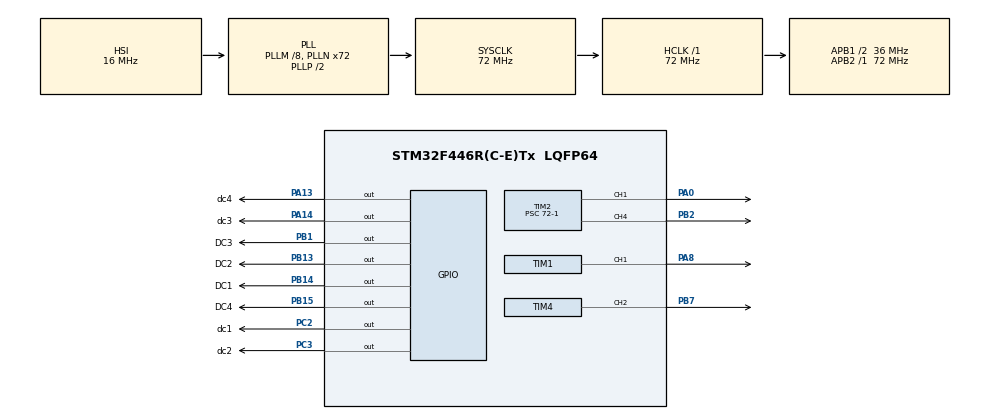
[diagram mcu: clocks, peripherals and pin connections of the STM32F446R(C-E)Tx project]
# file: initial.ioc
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Mcu.Family=STM32F4
Mcu.Name=STM32F446R(C-E)Tx
Mcu.Package=LQFP64
NVIC.PriorityGroup=NVIC_PRIORITYGROUP_4
PA0-WKUP.Signal=S_TIM2_CH1_ETR
PA13.GPIO_Label=dc4
PA13.Signal=GPIO_Output
PA14.GPIO_Label=dc3
PA14.Signal=GPIO_Output
PA8.Signal=S_TIM1_CH1
PB1.GPIO_Label=DC3
PB1.Signal=GPIO_Output
PB13.GPIO_Label=DC2
PB13.Signal=GPIO_Output
PB14.GPIO_Label=DC1
PB14.Signal=GPIO_Output
PB15.GPIO_Label=DC4
PB15.Signal=GPIO_Output
PB2.Signal=S_TIM2_CH4
PB7.Signal=S_TIM4_CH2
PC2.GPIO_Label=dc1
PC2.Signal=GPIO_Output
PC3.GPIO_Label=dc2
PC3.Signal=GPIO_Output
ProjectManager.HeapSize=0x200
ProjectManager.StackSize=0x400
ProjectManager.TargetToolchain=STM32CubeIDE
RCC.AHBFreq_Value=72000000
RCC.APB1CLKDivider=RCC_HCLK_DIV2
RCC.APB1Freq_Value=36000000
RCC.APB1TimFreq_Value=72000000
RCC.APB2Freq_Value=72000000
RCC.APB2TimFreq_Value=72000000
RCC.CortexFreq_Value=72000000
RCC.HCLKFreq_Value=72000000
RCC.PLLM=8
RCC.PLLN=72
RCC.SYSCLKFreq_VALUE=72000000
RCC.SYSCLKSource=RCC_SYSCLKSOURCE_PLLCLK
RCC.USBFreq_Value=72000000
RCC.VCOOutputFreq_Value=144000000
SH.S_TIM1_CH1.0=TIM1_CH1,PWM Generation1 CH1
SH.S_TIM2_CH1_ETR.0=TIM2_CH1,PWM Generation1 CH1
SH.S_TIM2_CH4.0=TIM2_CH4,PWM Generation4 CH4
SH.S_TIM4_CH2.0=TIM4_CH2,PWM Generation2 CH2
TIM1.Channel-PWM\ Generation1\ CH1=TIM_CHANNEL_1
TIM1.Period=100-1
TIM1.Prescaler=72-1
TIM2.Channel-PWM\ Generation1\ CH1=TIM_CHANNEL_1
TIM2.Channel-PWM\ Generation4\ CH4=TIM_CHANNEL_4
TIM2.Period=100-1
TIM2.Prescaler=72-1
TIM4.Channel-PWM\ Generation2\ CH2=TIM_CHANNEL_2
TIM4.Period=100-1
TIM4.Prescaler=72-1
VP_TIM1_VS_ClockSourceINT.Mode=Internal
VP_TIM2_VS_ClockSourceINT.Mode=Internal
VP_TIM4_VS_ClockSourceINT.Mode=Internal
board=custom

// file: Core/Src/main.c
/* USER CODE BEGIN Header */
/**
  ******************************************************************************
  * @file           : main.c
  * @brief          : Main program body
  ******************************************************************************
  * @attention
  *
  * Copyright (c) 2022 STMicroelectronics.
  * All rights reserved.
  *
  * This software is licensed under terms that can be found in the LICENSE file
  * in the root directory of this software component.
  * If no LICENSE file comes with this software, it is provided AS-IS.
  *
  ******************************************************************************
  */
/* USER CODE END Header */
#include "main.h"

 TIM_HandleTypeDef htim1;
TIM_HandleTypeDef htim2;
TIM_HandleTypeDef htim4;

void SystemClock_Config(void);
static void MX_GPIO_Init(void);
static void MX_TIM2_Init(void);
static void MX_TIM4_Init(void);
static void MX_TIM1_Init(void);

/* USER CODE BEGIN 0 */
int pwm_val;
int pwm_val2;
int pwm_val3;
int pwm_val4;
/* USER CODE END 0 */

int main(void)
{

  /* MCU Configuration--------------------------------------------------------*/

  /* Reset of all peripherals, Initializes the Flash interface and the Systick. */
  HAL_Init();

  /* Configure the system clock */
  SystemClock_Config();

  /* Initialize all configured peripherals */
  MX_GPIO_Init();
  MX_TIM2_Init();
  MX_TIM4_Init();
  MX_TIM1_Init();
  /* USER CODE BEGIN 2 */
  HAL_TIM_PWM_Start(&htim2, TIM_CHANNEL_1);
  HAL_TIM_PWM_Start(&htim4, TIM_CHANNEL_2);
  HAL_TIM_PWM_Start(&htim2, TIM_CHANNEL_4);
  HAL_TIM_PWM_Start(&htim1, TIM_CHANNEL_1);
  /*htim2.Instance-> CCR1 = pwm_val;
  pwm_val=90;
  htim4.Instance-> CCR2 = pwm_val2;
  pwm_val2=90;
  htim1.Instance-> CCR1 = pwm_val3;
  pwm_val3=90;
  htim2.Instance-> CCR4 = pwm_val4;
  pwm_val4=90;

  HAL_GPIO_WritePin(GPIOC, dc1_Pin, 1);
  HAL_GPIO_WritePin(GPIOC, dc2_Pin, 0);
  HAL_GPIO_WritePin(GPIOA, dc3_Pin, 0);
  HAL_GPIO_WritePin(GPIOA, dc4_Pin, 1);
  HAL_GPIO_WritePin(GPIOB, DC1_Pin, 0);
  HAL_GPIO_WritePin(GPIOB, DC2_Pin, 1);
  HAL_GPIO_WritePin(GPIOB, DC3_Pin, 1);
  HAL_GPIO_WritePin(GPIOB, DC4_Pin, 0);

  HAL_Delay(1000);

  HAL_GPIO_WritePin(GPIOC, dc1_Pin, 0);
  HAL_GPIO_WritePin(GPIOC, dc2_Pin, 0);
  HAL_GPIO_WritePin(GPIOA, dc3_Pin, 0);
  HAL_GPIO_WritePin(GPIOA, dc4_Pin, 0);
  HAL_GPIO_WritePin(GPIOB, DC1_Pin, 0);
  HAL_GPIO_WritePin(GPIOB, DC2_Pin, 0);
  HAL_GPIO_WritePin(GPIOB, DC3_Pin, 0);
  HAL_GPIO_WritePin(GPIOB, DC4_Pin, 0);*/
  /* USER CODE END 2 */

  /* Infinite loop */
  /* USER CODE BEGIN WHILE */
  while (1)
  {
	  htim2.Instance-> CCR1 = pwm_val;
	  pwm_val=80;
	  htim4.Instance-> CCR2 = pwm_val2;
	  pwm_val2=80;
	  htim1.Instance-> CCR1 = pwm_val3;
	  pwm_val3=80;
	  htim2.Instance-> CCR4 = pwm_val4;
	  pwm_val4=80;
	  for(int i=0;i<4;i++){
		  int a=0;
		  int b=0;
		  HAL_GPIO_WritePin(GPIOC, dc1_Pin, a);
		  HAL_GPIO_WritePin(GPIOC, dc2_Pin, b);
		  HAL_GPIO_WritePin(GPIOA, dc3_Pin, b);
		  HAL_GPIO_WritePin(GPIOA, dc4_Pin, a);
		  HAL_GPIO_WritePin(GPIOB, DC1_Pin, b);
		  HAL_GPIO_WritePin(GPIOB, DC2_Pin, a);
		  HAL_GPIO_WritePin(GPIOB, DC3_Pin, a);
		  HAL_GPIO_WritePin(GPIOB, DC4_Pin, b);
		  HAL_Delay(1000);
	  }
	  for(int i=0;i<5;i++){
	  	  int a=0;
	  	  int b=0;
	  	  HAL_GPIO_WritePin(GPIOC, dc1_Pin, a);
	  	  HAL_GPIO_WritePin(GPIOC, dc2_Pin, b);
	  	  HAL_GPIO_WritePin(GPIOA, dc3_Pin, b);
	  	  HAL_GPIO_WritePin(GPIOA, dc4_Pin, a);
	  	  HAL_GPIO_WritePin(GPIOB, DC1_Pin, b);
	  	  HAL_GPIO_WritePin(GPIOB, DC2_Pin, a);
	  	  HAL_GPIO_WritePin(GPIOB, DC3_Pin, a);
	  	  HAL_GPIO_WritePin(GPIOB, DC4_Pin, b);
	  	  HAL_Delay(1000);
	  }
	  HAL_GPIO_WritePin(GPIOC, dc1_Pin, 0);
	  HAL_GPIO_WritePin(GPIOC, dc2_Pin, 0);
	  HAL_GPIO_WritePin(GPIOA, dc3_Pin, 0);
	  HAL_GPIO_WritePin(GPIOA, dc4_Pin, 0);
	  HAL_GPIO_WritePin(GPIOB, DC1_Pin, 0);
	  HAL_GPIO_WritePin(GPIOB, DC2_Pin, 0);
	  HAL_GPIO_WritePin(GPIOB, DC3_Pin, 0);
	  HAL_GPIO_WritePin(GPIOB, DC4_Pin, 0);
	  HAL_Delay(10000);

    /* USER CODE END WHILE */

  }
}

void SystemClock_Config(void)
{
  RCC_OscInitTypeDef RCC_OscInitStruct = {0};
  RCC_ClkInitTypeDef RCC_ClkInitStruct = {0};

  /** Configure the main internal regulator output voltage
  */
  __HAL_RCC_PWR_CLK_ENABLE();
  __HAL_PWR_VOLTAGESCALING_CONFIG(PWR_REGULATOR_VOLTAGE_SCALE3);

  /** Initializes the RCC Oscillators according to the specified parameters
  * in the RCC_OscInitTypeDef structure.
  */
  RCC_OscInitStruct.OscillatorType = RCC_OSCILLATORTYPE_HSI;
  RCC_OscInitStruct.HSIState = RCC_HSI_ON;
  RCC_OscInitStruct.HSICalibrationValue = RCC_HSICALIBRATION_DEFAULT;
  RCC_OscInitStruct.PLL.PLLState = RCC_PLL_ON;
  RCC_OscInitStruct.PLL.PLLSource = RCC_PLLSOURCE_HSI;
  RCC_OscInitStruct.PLL.PLLM = 8;
  RCC_OscInitStruct.PLL.PLLN = 72;
  RCC_OscInitStruct.PLL.PLLP = RCC_PLLP_DIV2;
  RCC_OscInitStruct.PLL.PLLQ = 2;
  RCC_OscInitStruct.PLL.PLLR = 2;
  if (HAL_RCC_OscConfig(&RCC_OscInitStruct) != HAL_OK)
  {
    Error_Handler();
  }

  /** Initializes the CPU, AHB and APB buses clocks
  */
  RCC_ClkInitStruct.ClockType = RCC_CLOCKTYPE_HCLK|RCC_CLOCKTYPE_SYSCLK
                              |RCC_CLOCKTYPE_PCLK1|RCC_CLOCKTYPE_PCLK2;
  RCC_ClkInitStruct.SYSCLKSource = RCC_SYSCLKSOURCE_PLLCLK;
  RCC_ClkInitStruct.AHBCLKDivider = RCC_SYSCLK_DIV1;
  RCC_ClkInitStruct.APB1CLKDivider = RCC_HCLK_DIV2;
  RCC_ClkInitStruct.APB2CLKDivider = RCC_HCLK_DIV1;

  if (HAL_RCC_ClockConfig(&RCC_ClkInitStruct, FLASH_LATENCY_2) != HAL_OK)
  {
    Error_Handler();
  }
}

static void MX_TIM1_Init(void)
{

  TIM_ClockConfigTypeDef sClockSourceConfig = {0};
  TIM_MasterConfigTypeDef sMasterConfig = {0};
  TIM_OC_InitTypeDef sConfigOC = {0};
  TIM_BreakDeadTimeConfigTypeDef sBreakDeadTimeConfig = {0};

  htim1.Instance = TIM1;
  htim1.Init.Prescaler = 72-1;
  htim1.Init.CounterMode = TIM_COUNTERMODE_UP;
  htim1.Init.Period = 100-1;
  htim1.Init.ClockDivision = TIM_CLOCKDIVISION_DIV1;
  htim1.Init.RepetitionCounter = 0;
  htim1.Init.AutoReloadPreload = TIM_AUTORELOAD_PRELOAD_DISABLE;
  if (HAL_TIM_Base_Init(&htim1) != HAL_OK)
  {
    Error_Handler();
  }
  sClockSourceConfig.ClockSource = TIM_CLOCKSOURCE_INTERNAL;
  if (HAL_TIM_ConfigClockSource(&htim1, &sClockSourceConfig) != HAL_OK)
  {
    Error_Handler();
  }
  if (HAL_TIM_PWM_Init(&htim1) != HAL_OK)
  {
    Error_Handler();
  }
  sMasterConfig.MasterOutputTrigger = TIM_TRGO_RESET;
  sMasterConfig.MasterSlaveMode = TIM_MASTERSLAVEMODE_DISABLE;
  if (HAL_TIMEx_MasterConfigSynchronization(&htim1, &sMasterConfig) != HAL_OK)
  {
    Error_Handler();
  }
  sConfigOC.OCMode = TIM_OCMODE_PWM1;
  sConfigOC.Pulse = 0;
  sConfigOC.OCPolarity = TIM_OCPOLARITY_HIGH;
  sConfigOC.OCNPolarity = TIM_OCNPOLARITY_HIGH;
  sConfigOC.OCFastMode = TIM_OCFAST_DISABLE;
  sConfigOC.OCIdleState = TIM_OCIDLESTATE_RESET;
  sConfigOC.OCNIdleState = TIM_OCNIDLESTATE_RESET;
  if (HAL_TIM_PWM_ConfigChannel(&htim1, &sConfigOC, TIM_CHANNEL_1) != HAL_OK)
  {
    Error_Handler();
  }
  sBreakDeadTimeConfig.OffStateRunMode = TIM_OSSR_DISABLE;
  sBreakDeadTimeConfig.OffStateIDLEMode = TIM_OSSI_DISABLE;
  sBreakDeadTimeConfig.LockLevel = TIM_LOCKLEVEL_OFF;
  sBreakDeadTimeConfig.DeadTime = 0;
  sBreakDeadTimeConfig.BreakState = TIM_BREAK_DISABLE;
  sBreakDeadTimeConfig.BreakPolarity = TIM_BREAKPOLARITY_HIGH;
  sBreakDeadTimeConfig.AutomaticOutput = TIM_AUTOMATICOUTPUT_DISABLE;
  if (HAL_TIMEx_ConfigBreakDeadTime(&htim1, &sBreakDeadTimeConfig) != HAL_OK)
  {
    Error_Handler();
  }
  HAL_TIM_MspPostInit(&htim1);

}

static void MX_TIM2_Init(void)
{

  TIM_ClockConfigTypeDef sClockSourceConfig = {0};
  TIM_MasterConfigTypeDef sMasterConfig = {0};
  TIM_OC_InitTypeDef sConfigOC = {0};

  htim2.Instance = TIM2;
  htim2.Init.Prescaler = 72-1;
  htim2.Init.CounterMode = TIM_COUNTERMODE_UP;
  htim2.Init.Period = 100-1;
  htim2.Init.ClockDivision = TIM_CLOCKDIVISION_DIV1;
  htim2.Init.AutoReloadPreload = TIM_AUTORELOAD_PRELOAD_DISABLE;
  if (HAL_TIM_Base_Init(&htim2) != HAL_OK)
  {
    Error_Handler();
  }
  sClockSourceConfig.ClockSource = TIM_CLOCKSOURCE_INTERNAL;
  if (HAL_TIM_ConfigClockSource(&htim2, &sClockSourceConfig) != HAL_OK)
  {
    Error_Handler();
  }
  if (HAL_TIM_PWM_Init(&htim2) != HAL_OK)
  {
    Error_Handler();
  }
  sMasterConfig.MasterOutputTrigger = TIM_TRGO_RESET;
  sMasterConfig.MasterSlaveMode = TIM_MASTERSLAVEMODE_DISABLE;
  if (HAL_TIMEx_MasterConfigSynchronization(&htim2, &sMasterConfig) != HAL_OK)
  {
    Error_Handler();
  }
  sConfigOC.OCMode = TIM_OCMODE_PWM1;
  sConfigOC.Pulse = 0;
  sConfigOC.OCPolarity = TIM_OCPOLARITY_HIGH;
  sConfigOC.OCFastMode = TIM_OCFAST_DISABLE;
  if (HAL_TIM_PWM_ConfigChannel(&htim2, &sConfigOC, TIM_CHANNEL_1) != HAL_OK)
  {
    Error_Handler();
  }
  if (HAL_TIM_PWM_ConfigChannel(&htim2, &sConfigOC, TIM_CHANNEL_4) != HAL_OK)
  {
    Error_Handler();
  }
  HAL_TIM_MspPostInit(&htim2);

}

static void MX_TIM4_Init(void)
{

  TIM_ClockConfigTypeDef sClockSourceConfig = {0};
  TIM_MasterConfigTypeDef sMasterConfig = {0};
  TIM_OC_InitTypeDef sConfigOC = {0};

  htim4.Instance = TIM4;
  htim4.Init.Prescaler = 72-1;
  htim4.Init.CounterMode = TIM_COUNTERMODE_UP;
  htim4.Init.Period = 100-1;
  htim4.Init.ClockDivision = TIM_CLOCKDIVISION_DIV1;
  htim4.Init.AutoReloadPreload = TIM_AUTORELOAD_PRELOAD_DISABLE;
  if (HAL_TIM_Base_Init(&htim4) != HAL_OK)
  {
    Error_Handler();
  }
  sClockSourceConfig.ClockSource = TIM_CLOCKSOURCE_INTERNAL;
  if (HAL_TIM_ConfigClockSource(&htim4, &sClockSourceConfig) != HAL_OK)
  {
    Error_Handler();
  }
  if (HAL_TIM_PWM_Init(&htim4) != HAL_OK)
  {
    Error_Handler();
  }
  sMasterConfig.MasterOutputTrigger = TIM_TRGO_RESET;
  sMasterConfig.MasterSlaveMode = TIM_MASTERSLAVEMODE_DISABLE;
  if (HAL_TIMEx_MasterConfigSynchronization(&htim4, &sMasterConfig) != HAL_OK)
  {
    Error_Handler();
  }
  sConfigOC.OCMode = TIM_OCMODE_PWM1;
  sConfigOC.Pulse = 0;
  sConfigOC.OCPolarity = TIM_OCPOLARITY_HIGH;
  sConfigOC.OCFastMode = TIM_OCFAST_DISABLE;
  if (HAL_TIM_PWM_ConfigChannel(&htim4, &sConfigOC, TIM_CHANNEL_2) != HAL_OK)
  {
    Error_Handler();
  }
  HAL_TIM_MspPostInit(&htim4);

}

static void MX_GPIO_Init(void)
{
  GPIO_InitTypeDef GPIO_InitStruct = {0};

  /* GPIO Ports Clock Enable */
  __HAL_RCC_GPIOC_CLK_ENABLE();
  __HAL_RCC_GPIOA_CLK_ENABLE();
  __HAL_RCC_GPIOB_CLK_ENABLE();

  /*Configure GPIO pin Output Level */
  HAL_GPIO_WritePin(GPIOC, dc1_Pin|dc2_Pin, GPIO_PIN_RESET);

  /*Configure GPIO pin Output Level */
  HAL_GPIO_WritePin(GPIOB, DC3_Pin|DC2_Pin|DC1_Pin|DC4_Pin, GPIO_PIN_RESET);

  /*Configure GPIO pin Output Level */
  HAL_GPIO_WritePin(GPIOA, dc4_Pin|dc3_Pin, GPIO_PIN_RESET);

  /*Configure GPIO pins : dc1_Pin dc2_Pin */
  GPIO_InitStruct.Pin = dc1_Pin|dc2_Pin;
  GPIO_InitStruct.Mode = GPIO_MODE_OUTPUT_PP;
  GPIO_InitStruct.Pull = GPIO_NOPULL;
  GPIO_InitStruct.Speed = GPIO_SPEED_FREQ_LOW;
  HAL_GPIO_Init(GPIOC, &GPIO_InitStruct);

  /*Configure GPIO pins : DC3_Pin DC2_Pin DC1_Pin DC4_Pin */
  GPIO_InitStruct.Pin = DC3_Pin|DC2_Pin|DC1_Pin|DC4_Pin;
  GPIO_InitStruct.Mode = GPIO_MODE_OUTPUT_PP;
  GPIO_InitStruct.Pull = GPIO_NOPULL;
  GPIO_InitStruct.Speed = GPIO_SPEED_FREQ_LOW;
  HAL_GPIO_Init(GPIOB, &GPIO_InitStruct);

  /*Configure GPIO pins : dc4_Pin dc3_Pin */
  GPIO_InitStruct.Pin = dc4_Pin|dc3_Pin;
  GPIO_InitStruct.Mode = GPIO_MODE_OUTPUT_PP;
  GPIO_InitStruct.Pull = GPIO_NOPULL;
  GPIO_InitStruct.Speed = GPIO_SPEED_FREQ_LOW;
  HAL_GPIO_Init(GPIOA, &GPIO_InitStruct);

}

void Error_Handler(void)
{
  __disable_irq();
  while (1)
  {
  }
}
